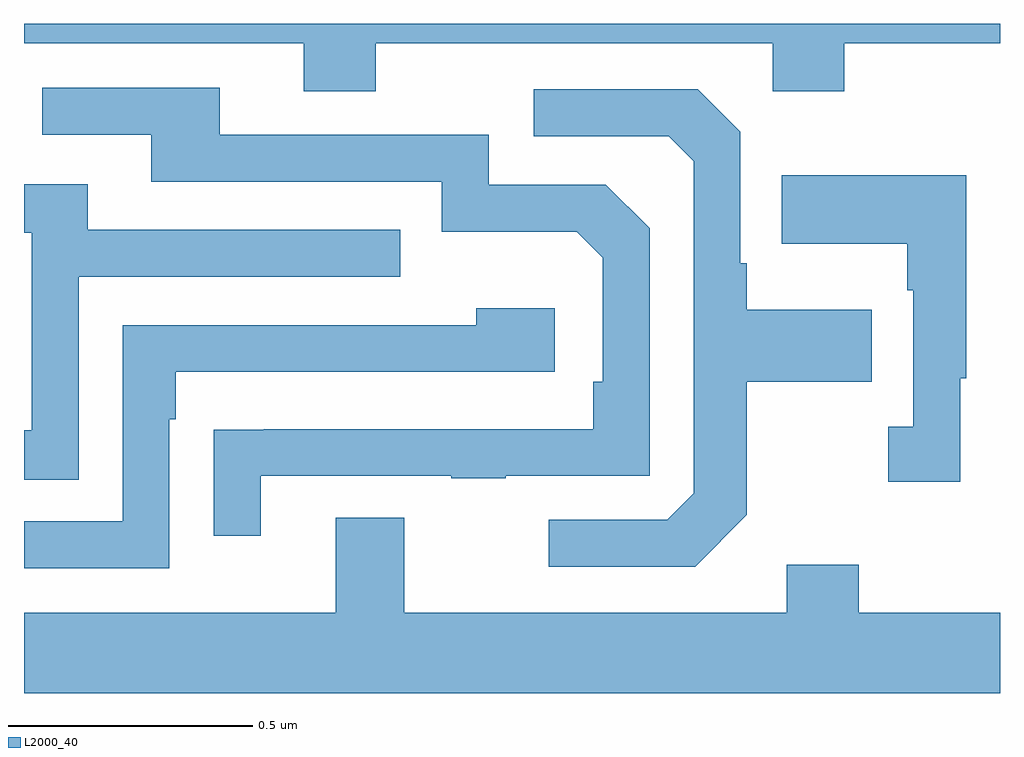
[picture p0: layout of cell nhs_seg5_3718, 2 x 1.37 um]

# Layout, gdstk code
import gdstk
lib = gdstk.Library(unit=1e-6, precision=1e-09)
def P(c, l, *ps):  # polygons
    for p in ps: c.add(gdstk.Polygon(p, *l))
L2000_40 = (2000, 40)

nhs_seg5_3718 = lib.new_cell('nhs_seg5_3718')
P(nhs_seg5_3718, L2000_40, [(161.721,856.76),(162.534,856.76),(162.534,856.661),(162.681,856.661),(162.681,856.76),(163,856.76),(163,856.799),(161,856.799),(161,856.76),(161.573,856.76),(161.573,856.661),(161.721,856.661)],
  [(161.485,855.873),(161.875,855.873),(161.875,855.868),(161.987,855.868),(161.987,855.873),(162.282,855.873),(162.282,856.38),(162.192,856.47),(161.952,856.47),(161.952,856.572),(161.401,856.572),(161.401,856.668),(161.037,856.668),(161.037,856.572),(161.261,856.572),(161.261,856.476),(161.856,856.476),(161.856,856.373),(162.133,856.373),(162.186,856.32),(162.186,856.066),(162.166,856.066),(162.166,855.969),(161.491,855.969),(161.491,855.968),(161.389,855.968),(161.389,855.75),(161.485,855.75)],
  [(162.481,855.793),(162.481,856.066),(162.737,856.066),(162.737,856.213),(162.481,856.213),(162.481,856.309),(162.468,856.309),(162.468,856.578),(162.381,856.665),(162.045,856.665),(162.045,856.569),(162.321,856.569),(162.372,856.518),(162.372,855.837),(162.318,855.783),(162.075,855.783),(162.075,855.687),(162.375,855.687)],
  [(162.919,856.073),(162.931,856.073),(162.931,856.489),(162.553,856.489),(162.553,856.349),(162.81,856.349),(162.81,856.253),(162.822,856.253),(162.822,855.974),(162.771,855.974),(162.771,855.861),(162.919,855.861)],
  [(161.112,856.281),(161.771,856.281),(161.771,856.377),(161.131,856.377),(161.131,856.471),(161,856.471),(161,856.371),(161.016,856.371),(161.016,855.966),(161,855.966),(161,855.865),(161.112,855.865)],
  [(161.298,855.989),(161.311,855.989),(161.311,856.086),(162.088,856.086),(162.088,856.216),(161.927,856.216),(161.927,856.182),(161.202,856.182),(161.202,855.78),(161,855.78),(161,855.684),(161.298,855.684)],
  [(163,855.592),(162.711,855.592),(162.711,855.691),(162.563,855.691),(162.563,855.592),(161.779,855.592),(161.779,855.787),(161.639,855.787),(161.639,855.592),(161,855.592),(161,855.428),(163,855.428)])

lib.write_gds('nhs_seg5_3718.gds')
